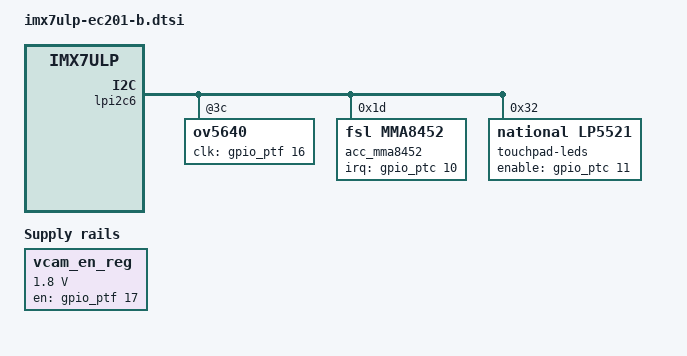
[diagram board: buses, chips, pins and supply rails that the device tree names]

/*
 * Copyright 2019 FLIR
 *
 * This program is free software; you can redistribute it and/or modify
 * it under the terms of the GNU General Public License version 2 as
 * published by the Free Software Foundation.
 */

 
/* This device tree is for board ec201 revision b  */
/ {
	regulators {
		vcam_en_reg_avdd: vcam_en_reg_avdd {
			status = "disabled";
		};
		vcam_en_reg_dovdd: vcam_en_reg_dovdd {
			status = "diabled";
		};

		vcam_en_reg: vcam_en_reg {
			compatible = "regulator-fixed";
			regulator-name = "vcam_en";
			regulator-min-microvolt = <1800000>;
			regulator-max-microvolt = <1800000>;
			gpio = <&gpio_ptf 17 GPIO_ACTIVE_HIGH>;
			startup-delay-us = <0>;
			enable-active-high;
			regulator-boot-on;
			regulator-always-on;
		};

	};
};

&lpi2c6 {

	ov5640: ov5640@3c {
		/delete-property/ DOVDD-supply; /* 1.8v */
		/delete-property/ AVDD-supply;  /* 2.8v */
		clk-gpios = <&gpio_ptf 16 GPIO_ACTIVE_HIGH>;
	};

	acc_mma8452: acc_mma8452@1D {
		compatible = "fsl,mma8452";
		reg = <0x1D>;
		interrupt-parent = <&gpio_ptc>;
		interrupts = <10 IRQ_TYPE_LEVEL_HIGH>;
	};

	acc_kxtj3: acc_kxtj3@0F {
		status = "disabled";
	};

	touchpad_leds: touchpad_leds@30 {
		status = "disabled";
	};

	touchpad_leds2: touchpad_leds2@32 {
		compatible = "national,lp5521";
		reg = <0x32>;
		
		label = "touchpad-leds";
		clock-mode = <1>;	/* Internal clock */
		enable-gpio = <&gpio_ptc 11 GPIO_ACTIVE_HIGH>;

		tp_led1 {
			chan-name = "tp-camera";
			led-cur = /bits/ 8 <0x32>;
			max-cur = /bits/ 8 <0x32>;
			linux,default-trigger = "none";
		};
		tp_led2 {
			chan-name = "tp-settings";
			led-cur = /bits/ 8 <0x32>;
			max-cur = /bits/ 8 <0x32>;
			linux,default-trigger = "none";
		};
		tp_led3 {
			chan-name = "tp-gallery";
			led-cur = /bits/ 8 <0x32>;
			max-cur = /bits/ 8 <0x32>;
			linux,default-trigger = "none";
		};
	};
};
